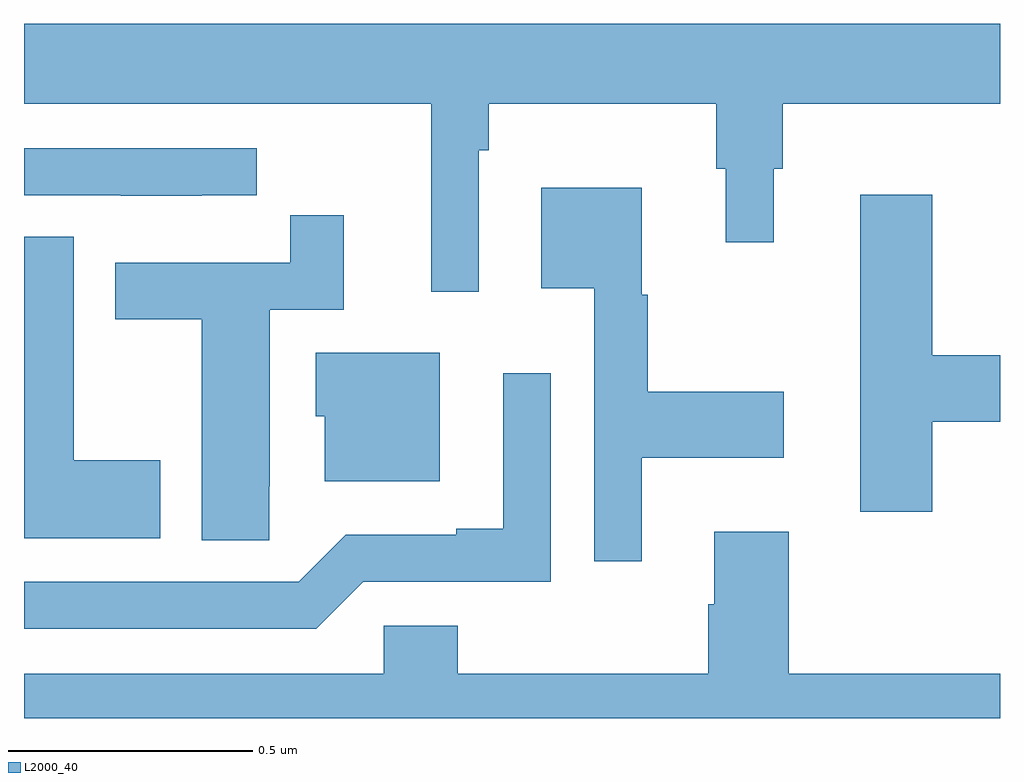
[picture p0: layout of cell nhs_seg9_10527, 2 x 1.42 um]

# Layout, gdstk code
import gdstk
lib = gdstk.Library(unit=1e-6, precision=1e-09)
def P(c, l, *ps):  # polygons
    for p in ps: c.add(gdstk.Polygon(p, *l))
L2000_40 = (2000, 40)

nhs_seg9_10527 = lib.new_cell('nhs_seg9_10527')
P(nhs_seg9_10527, L2000_40, [(244.932,1189.664),(244.952,1189.664),(244.952,1189.76),(245.419,1189.76),(245.419,1189.626),(245.438,1189.626),(245.438,1189.476),(245.536,1189.476),(245.536,1189.626),(245.555,1189.626),(245.555,1189.76),(246,1189.76),(246,1189.924),(244,1189.924),(244,1189.76),(244.835,1189.76),(244.835,1189.374),(244.932,1189.374)],
  [(244.364,1189.572),(244.477,1189.572),(244.477,1189.668),(244,1189.668),(244,1189.572),(244.198,1189.572),(244.198,1189.571),(244.364,1189.571)],
  [(245.266,1189.034),(245.557,1189.034),(245.557,1189.169),(245.278,1189.169),(245.278,1189.368),(245.266,1189.368),(245.266,1189.588),(245.06,1189.588),(245.06,1189.382),(245.169,1189.382),(245.169,1188.822),(245.266,1188.822)],
  [(245.861,1189.108),(246,1189.108),(246,1189.244),(245.861,1189.244),(245.861,1189.573),(245.714,1189.573),(245.714,1188.924),(245.861,1188.924)],
  [(244.503,1188.976),(244.504,1188.976),(244.504,1189.338),(244.655,1189.338),(244.655,1189.531),(244.546,1189.531),(244.546,1189.434),(244.187,1189.434),(244.187,1189.318),(244.364,1189.318),(244.364,1188.865),(244.503,1188.865)],
  [(244.279,1189.029),(244.102,1189.029),(244.102,1189.487),(244,1189.487),(244,1188.869),(244.279,1188.869)],
  [(244.852,1189.249),(244.598,1189.249),(244.598,1189.119),(244.616,1189.119),(244.616,1188.986),(244.852,1188.986)],
  [(244.695,1188.78),(245.079,1188.78),(245.079,1189.207),(244.982,1189.207),(244.982,1188.889),(244.886,1188.889),(244.886,1188.876),(244.659,1188.876),(244.563,1188.78),(244,1188.78),(244,1188.684),(244.599,1188.684)],
  [(246,1188.592),(245.567,1188.592),(245.567,1188.883),(245.414,1188.883),(245.414,1188.734),(245.402,1188.734),(245.402,1188.592),(244.889,1188.592),(244.889,1188.69),(244.737,1188.69),(244.737,1188.592),(244,1188.592),(244,1188.5),(246,1188.5)])

lib.write_gds('nhs_seg9_10527.gds')
